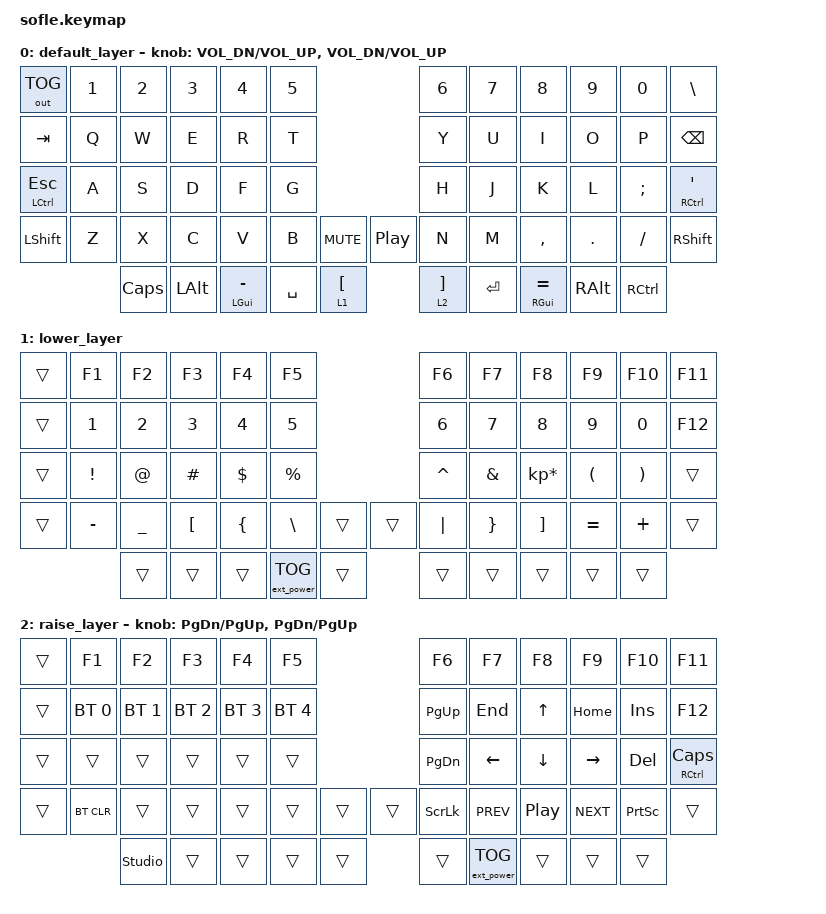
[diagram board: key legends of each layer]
#include <behaviors.dtsi>
#include <dt-bindings/zmk/keys.h>
#include <dt-bindings/zmk/bt.h>
#include <dt-bindings/zmk/outputs.h>
#include <dt-bindings/zmk/ext_power.h>

/ {
    keymap {
        compatible = "zmk,keymap";

        default_layer {
            bindings = <
&out OUT_TOG  &kp N1 &kp N2    &kp N3    &kp N4    &kp N5                      &kp N6  &kp N7    &kp N8    &kp N9   &kp N0   &kp BSLH
&kp TAB       &kp Q  &kp W     &kp E     &kp R     &kp T                       &kp Y   &kp U     &kp I     &kp O    &kp P    &kp BSPC
&mt LCTRL ESC &kp A  &kp S     &kp D     &kp F     &kp G                       &kp H   &kp J     &kp K     &kp L    &kp SEMI &mt RCTRL SQT
&kp LSHFT     &kp Z  &kp X     &kp C     &kp V     &kp B  &kp C_MUTE &kp C_PP  &kp N   &kp M     &kp COMMA &kp DOT  &kp FSLH &kp RSHFT
                     &kp CLCK  &kp LALT  &mt LGUI MINUS &kp SPACE &lt 1 LBKT &lt 2 RBKT &kp RET &mt RGUI EQUAL &kp RALT &kp RCTRL
            >;
            sensor-bindings = <&inc_dec_kp C_VOL_DN C_VOL_UP &inc_dec_kp C_VOL_DN C_VOL_UP>;
        };

        lower_layer {
            bindings = <
&trans &kp F1    &kp F2    &kp F3    &kp F4    &kp F5                      &kp F6    &kp F7    &kp F8    &kp F9    &kp F10   &kp F11
&trans &kp N1    &kp N2    &kp N3    &kp N4    &kp N5                      &kp N6    &kp N7    &kp N8    &kp N9    &kp N0    &kp F12
&trans &kp EXCL  &kp AT    &kp HASH  &kp DLLR  &kp PRCNT                   &kp CARET &kp AMPS  &kp KP_MULTIPLY &kp LPAR &kp RPAR &trans
&trans &kp MINUS &kp UNDER &kp LBKT  &kp LBRC  &kp BSLH  &trans    &trans  &kp PIPE  &kp RBRC  &kp RBKT  &kp EQUAL &kp PLUS  &trans
                 &trans    &trans    &trans    &ext_power EP_TOG &trans &trans &trans &trans &trans &trans
            >;
        };

        raise_layer {
            bindings = <
&trans &kp F1       &kp F2       &kp F3       &kp F4       &kp F5                       &kp F6     &kp F7     &kp F8    &kp F9    &kp F10   &kp F11
&trans &bt BT_SEL 0 &bt BT_SEL 1 &bt BT_SEL 2 &bt BT_SEL 3 &bt BT_SEL 4                 &kp PG_UP  &kp END    &kp UP    &kp HOME  &kp INS   &kp F12
&trans &trans       &trans       &trans       &trans       &trans                        &kp PG_DN  &kp LEFT   &kp DOWN  &kp RIGHT &kp DEL   &mt RCTRL CLCK
&trans &bt BT_CLR   &trans       &trans       &trans       &trans       &trans &trans   &kp SLCK   &kp C_PREV &kp C_PP  &kp C_NEXT &kp PSCRN &trans
                    &studio_unlock &trans      &trans      &trans       &trans &trans   &ext_power EP_TOG &trans &trans &trans
            >;
            sensor-bindings = <&inc_dec_kp PG_DN PG_UP &inc_dec_kp PG_DN PG_UP>;
        };
    };
};
